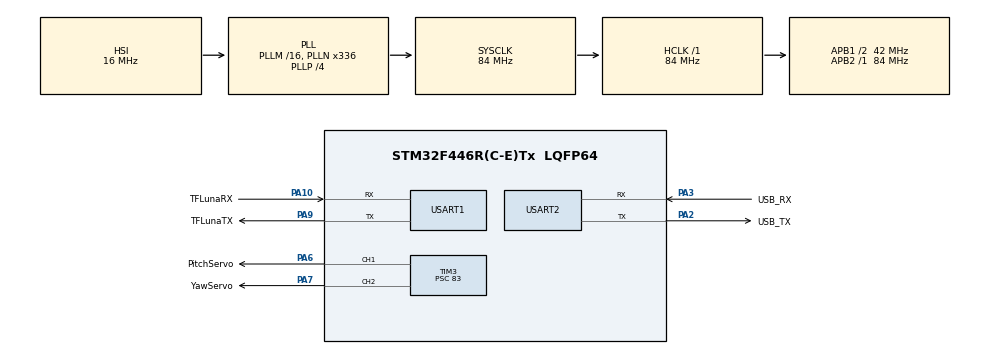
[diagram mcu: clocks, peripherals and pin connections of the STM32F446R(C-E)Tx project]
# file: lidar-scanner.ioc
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Mcu.Family=STM32F4
Mcu.Name=STM32F446R(C-E)Tx
Mcu.Package=LQFP64
NVIC.PriorityGroup=NVIC_PRIORITYGROUP_0
NVIC.USART1_IRQn=true\:0\:0\:false\:false\:true\:true\:true\:true
NVIC.USART2_IRQn=true\:0\:0\:false\:false\:true\:true\:true\:true
PA10.GPIO_Label=TFLunaRX
PA10.Mode=Asynchronous
PA10.Signal=USART1_RX
PA13.GPIO_Label=TMS
PA13.Mode=Serial_Wire
PA13.Signal=SYS_JTMS-SWDIO
PA14.GPIO_Label=TCK
PA14.Mode=Serial_Wire
PA14.Signal=SYS_JTCK-SWCLK
PA2.GPIO_Label=USB_TX
PA2.Mode=Asynchronous
PA2.Signal=USART2_TX
PA3.GPIO_Label=USB_RX
PA3.Mode=Asynchronous
PA3.Signal=USART2_RX
PA6.GPIO_Label=PitchServo
PA6.Signal=S_TIM3_CH1
PA7.GPIO_Label=YawServo
PA7.Signal=S_TIM3_CH2
PA9.GPIO_Label=TFLunaTX
PA9.Mode=Asynchronous
PA9.Signal=USART1_TX
PB3.GPIO_Label=SWO
PB3.Signal=SYS_JTDO-SWO
PC14-OSC32_IN.Mode=LSE-External-Oscillator
PC14-OSC32_IN.Signal=RCC_OSC32_IN
PC15-OSC32_OUT.Mode=LSE-External-Oscillator
PC15-OSC32_OUT.Signal=RCC_OSC32_OUT
PH0-OSC_IN.Mode=HSE-External-Oscillator
PH0-OSC_IN.Signal=RCC_OSC_IN
PH1-OSC_OUT.Mode=HSE-External-Oscillator
PH1-OSC_OUT.Signal=RCC_OSC_OUT
ProjectManager.HeapSize=0x200
ProjectManager.StackSize=0x400
ProjectManager.TargetToolchain=STM32CubeIDE
RCC.48MHZClocksFreq_Value=84000000
RCC.AHBFreq_Value=84000000
RCC.APB1CLKDivider=RCC_HCLK_DIV2
RCC.APB1Freq_Value=42000000
RCC.APB1TimFreq_Value=84000000
RCC.APB2Freq_Value=84000000
RCC.APB2TimFreq_Value=84000000
RCC.CortexFreq_Value=84000000
RCC.FLatency-AdvancedSettings=FLASH_LATENCY_2
RCC.HCLKFreq_Value=84000000
RCC.HSE_VALUE=8000000
RCC.HSI_VALUE=16000000
RCC.PLLN=336
RCC.PLLP=RCC_PLLP_DIV4
RCC.SYSCLKFreq_VALUE=84000000
RCC.SYSCLKSource=RCC_SYSCLKSOURCE_PLLCLK
RCC.USBFreq_Value=168000000
RCC.VCOOutputFreq_Value=336000000
SH.S_TIM3_CH1.0=TIM3_CH1,PWM Generation1 CH1
SH.S_TIM3_CH2.0=TIM3_CH2,PWM Generation2 CH2
TIM3.Channel-PWM\ Generation1\ CH1=TIM_CHANNEL_1
TIM3.Channel-PWM\ Generation2\ CH2=TIM_CHANNEL_2
TIM3.Period=19999
TIM3.Prescaler=83
USART1.VirtualMode=VM_ASYNC
USART2.VirtualMode=VM_ASYNC
VP_TIM3_VS_ClockSourceINT.Mode=Internal
board=NUCLEO-F446RE

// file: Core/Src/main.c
/* USER CODE BEGIN Header */
/**
  ******************************************************************************
  * @file           : main.c
  * @brief          : Main program body
  ******************************************************************************
  * @attention
  *
  * Copyright (c) 2023 STMicroelectronics.
  * All rights reserved.
  *
  * This software is licensed under terms that can be found in the LICENSE file
  * in the root directory of this software component.
  * If no LICENSE file comes with this software, it is provided AS-IS.
  *
  ******************************************************************************
  */
/* USER CODE END Header */
#include "main.h"

/* USER CODE BEGIN Includes */
#include "TFLuna.h"
#include "Servo.h"
/* USER CODE END Includes */

TIM_HandleTypeDef htim3;

UART_HandleTypeDef huart1;
UART_HandleTypeDef huart2;

/* USER CODE BEGIN PV */

// #####  #####   ###   #####  #  #####     #   #   ###   ####   #   ###   ####   #      #####  #####
// #        #    #   #    #    #  #         #   #  #   #  #   #  #  #   #  #   #  #      #      #
// #####    #    #####    #    #  #         #   #  #####  ####   #  #####  ####   #      #####  #####
//     #    #    #   #    #    #  #          # #   #   #  #  #   #  #   #  #   #  #      #          #
// #####    #    #   #    #    #  #####       #    #   #  #   #  #  #   #  ####   #####  #####  #####

static uint8_t scan_in_progress = 0;

static float increment_yaw = 1.0f;
static float increment_pitch = 1.0f;
static uint16_t change_pitch_direction_count = 0;
static long int expected_sample_count = 0;
static long int sample_count = 0;

static uint16_t sensor_frequency = 500/5;

static int counter = 0;

static uint8_t received_byte[1];
#define SEND_DATA_SIZE 14
static uint8_t data14byte[SEND_DATA_SIZE];
static uint8_t read_step_info_flag = 0;

#define LUNA_DATA_SIZE  8
static uint8_t tfluna_data_frame[LUNA_DATA_SIZE];

static int16_t pitch = 0;
static int16_t yaw = 0;

static Servo YawServo;
static Servo PitchServo;
static TFLuna sensor;

/* USER CODE END PV */

void SystemClock_Config(void);
static void MX_GPIO_Init(void);
static void MX_USART2_UART_Init(void);
static void MX_USART1_UART_Init(void);
static void MX_TIM3_Init(void);
/* USER CODE BEGIN PFP */
void serialWriteMeasurement14Byte_IT(UART_HandleTypeDef *huart);
void executeScan(Servo *yawServo, Servo *pitchServo, TFLuna *sensor, GPIO_PinState *stop);
void homePosition(Servo *YawServo, Servo *PitchServo);
void flushBuffer(UART_HandleTypeDef *huart);
void executeScanTopBottom(Servo *YawServo, Servo *PitchServo, TFLuna *sensor);
void finishScanning(Servo *YawServo, Servo *PitchServo, TFLuna *sensor);

/* USER CODE END PFP */

/* USER CODE BEGIN 0 */

// #   #   ###   ####   #####     #  #   #  #####  #####  ####   ####   #   #  ####   #####  #####
// #   #  #   #  #   #    #       #  ##  #    #    #      #   #  #   #  #   #  #   #    #    #
// #   #  #####  ####     #       #  # # #    #    #####  ####   ####   #   #  ####     #    #####
// #   #  #   #  #  #     #       #  #  ##    #    #      #  #   #  #   #   #  #        #        #
//  ###   #   #  #   #    #       #  #   #    #    #####  #   #  #   #   ###   #        #    #####

typedef enum int8_t{
	UNKNOWN = 0x60,
	STOP_ALL = 0x61,
	START_SCANNING = 0x62,
	OK = 0x63,
	FRAME_BEGIN = 0x64,
	FRAME_END = 0x65,
	SCAN_FINISHED = 0x66,
	STEP_INFO = 0x67
} MessageCode;

// Interrupt after finished transmission (using HAL_UART_Transmit_IT())
void HAL_UART_TxCpltCallback(UART_HandleTypeDef *huart)
{
	if(huart == &huart1) // tf luna
	{
	}
	else if(huart == &huart2) // usb
	{
		if(sample_count == expected_sample_count && scan_in_progress == 1)
		{
			finishScanning(&YawServo, &PitchServo, &sensor);
			return;
		}

		if(scan_in_progress == 1)
		{
			HAL_UART_Receive_IT(&huart1, tfluna_data_frame, LUNA_DATA_SIZE);
			return;
		}

		HAL_UART_Receive_IT(&huart2, received_byte, 1);

	}
}

// Interrupt after receiving data (using HAL_UART_Recieve_IT())
void HAL_UART_RxCpltCallback(UART_HandleTypeDef *huart)
{
	if(huart == &huart1) // tf luna
	{
		if(counter++ % 2 == 0)
		{
			sample_count++;

			serialWriteMeasurement14Byte_IT(&huart2);

			if(sample_count > 1)
			{
				if(sample_count % change_pitch_direction_count == 0)
				{
					servoMoveBy(&YawServo, increment_yaw);
				}
				if(sample_count % change_pitch_direction_count == 1)
				{
					increment_pitch = -increment_pitch;
				}
			}
			servoMoveBy(&PitchServo, increment_pitch);
		}
		else
			HAL_UART_Receive_IT(&huart1, tfluna_data_frame, LUNA_DATA_SIZE);
	}
	else if(huart == &huart2) // usb
	{
		if(read_step_info_flag == 1)
		{
			read_step_info_flag = 0;
			increment_yaw = (float)(*received_byte) / 10.0;
			increment_pitch = (float)(*received_byte) / 10.0;
			HAL_UART_Receive_IT(&huart2, received_byte, 1);
			return;
		}

		switch(*received_byte)
		{
		case STOP_ALL:
			homePosition(&YawServo, &PitchServo);
			HAL_UART_Receive_IT(&huart2, received_byte, 1);
			break;
		case START_SCANNING:
			executeScanTopBottom(&YawServo, &PitchServo, &sensor);
			break;
		case STEP_INFO:
			read_step_info_flag = 1;
			HAL_UART_Receive_IT(&huart2, received_byte, 1);
			break;
		default:
			HAL_UART_Receive_IT(&huart2, received_byte, 1);
		}
		*received_byte = UNKNOWN;

	}
}

// #####  #   #  #   #  #####  #####  #  #####  #   #  #####
// #      #   #  ##  #  #        #    #  #   #  ##  #  #
// #####  #   #  # # #  #        #    #  #   #  # # #  #####
// #      #   #  #  ##  #        #    #  #   #  #  ##      #
// #       ###   #   #  #####    #    #  #####  #   #  #####

void executeScanTopBottom(Servo *YawServo, Servo *PitchServo, TFLuna *sensor)
{
	scan_in_progress = 1;

	if(increment_pitch < 0.0)
		increment_pitch = -increment_pitch;

	counter = 0;
	sample_count = 0;

	float pitch_range = PitchServo->max_angle_allowed_by_user - PitchServo->min_angle_allowed_by_user;
	float yaw_range = YawServo->max_angle_allowed_by_user - YawServo->min_angle_allowed_by_user;

	change_pitch_direction_count = (pitch_range / increment_pitch) + 1;
	expected_sample_count = (((pitch_range / increment_pitch) + 1) * ((yaw_range / increment_yaw) + 1));

	homePosition(YawServo, PitchServo);

	TFLunaEnableOutput(sensor, 1);

	HAL_UART_Receive_IT(sensor->uart_handler, tfluna_data_frame, LUNA_DATA_SIZE);
}

void serialWriteMeasurement14Byte_IT(UART_HandleTypeDef *huart)
{
	pitch = (int16_t)(10.0f * PitchServo.position);
	yaw = (int16_t)(10.0f * YawServo.position);

	data14byte[0] = (int8_t)FRAME_BEGIN;
	data14byte[1] = tfluna_data_frame[0];
	data14byte[2] = tfluna_data_frame[1];
	data14byte[3] = (uint8_t)pitch;
	data14byte[4] = (uint8_t)(pitch >> 8);
	data14byte[5] = (uint8_t)yaw;
	data14byte[6] = (uint8_t)(yaw >> 8);
	data14byte[7] = tfluna_data_frame[2];
	data14byte[8] = tfluna_data_frame[3];
	data14byte[9] = tfluna_data_frame[4];
	data14byte[10] = tfluna_data_frame[5];
	data14byte[11] = tfluna_data_frame[6];
	data14byte[12] = tfluna_data_frame[7];
	data14byte[13] = (int8_t)FRAME_END;

	HAL_UART_Transmit_IT(huart, (uint8_t*)data14byte, SEND_DATA_SIZE);
}

void finishScanning(Servo *YawServo, Servo *PitchServo, TFLuna *sensor)
{
	TFLunaEnableOutput(sensor, 0);
	homePosition(YawServo, PitchServo);
	scan_in_progress = 0;
	sample_count = 0;

	data14byte[0] = (uint8_t)SCAN_FINISHED;
	data14byte[1] = (uint8_t)SCAN_FINISHED;
	data14byte[2] = (uint8_t)SCAN_FINISHED;
	data14byte[3] = (uint8_t)SCAN_FINISHED;
	data14byte[4] = (uint8_t)SCAN_FINISHED;
	data14byte[5] = (uint8_t)SCAN_FINISHED;
	data14byte[6] = (uint8_t)SCAN_FINISHED;
	data14byte[7] = (uint8_t)SCAN_FINISHED;
	data14byte[8] = (uint8_t)SCAN_FINISHED;
	data14byte[9] = (uint8_t)SCAN_FINISHED;
	data14byte[10] = (uint8_t)SCAN_FINISHED;
	data14byte[11] = (uint8_t)SCAN_FINISHED;
	data14byte[12] = (uint8_t)SCAN_FINISHED;
	data14byte[13] = (uint8_t)SCAN_FINISHED;

	HAL_UART_Transmit_IT(&huart2, (uint8_t*)data14byte, SEND_DATA_SIZE);
}

void homePosition(Servo *YawServo, Servo *PitchServo)
{
	float homeYaw = YawServo->min_angle_allowed_by_user, homePitch = PitchServo->min_angle_allowed_by_user;

	servoMoveTo(PitchServo, homePitch);
	servoMoveTo(YawServo, homeYaw);
}

void flushBuffer(UART_HandleTypeDef *huart)
{
	HAL_UART_Receive(sensor.uart_handler, tfluna_data_frame, 200, 10);
}

/* USER CODE END 0 */

int main(void)
{

  /* MCU Configuration--------------------------------------------------------*/

  /* Reset of all peripherals, Initializes the Flash interface and the Systick. */
  HAL_Init();

  /* Configure the system clock */
  SystemClock_Config();

  /* Initialize all configured peripherals */
  MX_GPIO_Init();
  MX_USART2_UART_Init();
  MX_USART1_UART_Init();
  MX_TIM3_Init();
  /* USER CODE BEGIN 2 */

  // #  #   #  #  #####  #   ###   #      #  #####   ###   #####  #  #####  #   #
  // #  ##  #  #    #    #  #   #  #      #  #      #   #    #    #  #   #  ##  #
  // #  # # #  #    #    #  #####  #      #  #####  #####    #    #  #   #  # # #
  // #  #  ##  #    #    #  #   #  #      #      #  #   #    #    #  #   #  #  ##
  // #  #   #  #    #    #  #   #  #####  #  #####  #   #    #    #  #####  #   #

  HAL_TIM_PWM_Start(&htim3, TIM_CHANNEL_1);
  HAL_TIM_PWM_Start(&htim3, TIM_CHANNEL_2);

  init(&YawServo, &htim3, TIM_CHANNEL_2);
  YawServo.min_pulse_width_microseconds = 600 /* + offset */;
  YawServo.max_pulse_width_microseconds = 2570 /* + offset */;
  YawServo.min_angle_possible = -90.0;
  YawServo.max_angle_possible = 90.0;
  YawServo.min_angle_allowed_by_user = -90.0;
  YawServo.max_angle_allowed_by_user = 90.0;

  init(&PitchServo, &htim3, TIM_CHANNEL_1);
  PitchServo.min_pulse_width_microseconds = 500 + 10/* + offset */;
  PitchServo.max_pulse_width_microseconds = 2600 + 10 /* + offset */;
  PitchServo.min_angle_possible = -30.0;
  PitchServo.max_angle_possible = 150.0;
  PitchServo.min_angle_allowed_by_user = -30.0;
  PitchServo.max_angle_allowed_by_user = 90.0;

  sensor.uart_handler = &huart1;
  TFLunaEnableOutput(&sensor, 0);
  TFLunaSetOutputFormat(&sensor, CM_8BYTE);
  TFLunaSetFrequency(&sensor, sensor_frequency);

  flushBuffer(sensor.uart_handler);

  /* USER CODE END 2 */

  /* Infinite loop */
  /* USER CODE BEGIN WHILE */

  // #   #   ###   #  #   #     #   #  #   #  #  #      #####     #      #####  #####  ####
  // ## ##  #   #  #  ##  #     #   #  #   #  #  #      #         #      #   #  #   #  #   #
  // # # #  #####  #  # # #     # # #  #####  #  #      #####     #      #   #  #   #  ####
  // #   #  #   #  #  #  ##     # # #  #   #  #  #      #         #      #   #  #   #  #
  // #   #  #   #  #  #   #      # #   #   #  #  #####  #####     #####  #####  #####  #

  HAL_UART_Receive_IT(&huart2, received_byte, 1);

  while (1)
  {
	  if(scan_in_progress == 0)
		  homePosition(&YawServo, &PitchServo);

    /* USER CODE END WHILE */

    /* USER CODE BEGIN 3 */

  } // while(1)

  /* USER CODE END 3 */
}

void SystemClock_Config(void)
{
  RCC_OscInitTypeDef RCC_OscInitStruct = {0};
  RCC_ClkInitTypeDef RCC_ClkInitStruct = {0};

  /** Configure the main internal regulator output voltage
  */
  __HAL_RCC_PWR_CLK_ENABLE();
  __HAL_PWR_VOLTAGESCALING_CONFIG(PWR_REGULATOR_VOLTAGE_SCALE3);

  /** Initializes the RCC Oscillators according to the specified parameters
  * in the RCC_OscInitTypeDef structure.
  */
  RCC_OscInitStruct.OscillatorType = RCC_OSCILLATORTYPE_HSI;
  RCC_OscInitStruct.HSIState = RCC_HSI_ON;
  RCC_OscInitStruct.HSICalibrationValue = RCC_HSICALIBRATION_DEFAULT;
  RCC_OscInitStruct.PLL.PLLState = RCC_PLL_ON;
  RCC_OscInitStruct.PLL.PLLSource = RCC_PLLSOURCE_HSI;
  RCC_OscInitStruct.PLL.PLLM = 16;
  RCC_OscInitStruct.PLL.PLLN = 336;
  RCC_OscInitStruct.PLL.PLLP = RCC_PLLP_DIV4;
  RCC_OscInitStruct.PLL.PLLQ = 2;
  RCC_OscInitStruct.PLL.PLLR = 2;
  if (HAL_RCC_OscConfig(&RCC_OscInitStruct) != HAL_OK)
  {
    Error_Handler();
  }

  /** Initializes the CPU, AHB and APB buses clocks
  */
  RCC_ClkInitStruct.ClockType = RCC_CLOCKTYPE_HCLK|RCC_CLOCKTYPE_SYSCLK
                              |RCC_CLOCKTYPE_PCLK1|RCC_CLOCKTYPE_PCLK2;
  RCC_ClkInitStruct.SYSCLKSource = RCC_SYSCLKSOURCE_PLLCLK;
  RCC_ClkInitStruct.AHBCLKDivider = RCC_SYSCLK_DIV1;
  RCC_ClkInitStruct.APB1CLKDivider = RCC_HCLK_DIV2;
  RCC_ClkInitStruct.APB2CLKDivider = RCC_HCLK_DIV1;

  if (HAL_RCC_ClockConfig(&RCC_ClkInitStruct, FLASH_LATENCY_2) != HAL_OK)
  {
    Error_Handler();
  }
}

static void MX_TIM3_Init(void)
{

  TIM_ClockConfigTypeDef sClockSourceConfig = {0};
  TIM_MasterConfigTypeDef sMasterConfig = {0};
  TIM_OC_InitTypeDef sConfigOC = {0};

  htim3.Instance = TIM3;
  htim3.Init.Prescaler = 83;
  htim3.Init.CounterMode = TIM_COUNTERMODE_UP;
  htim3.Init.Period = 19999;
  htim3.Init.ClockDivision = TIM_CLOCKDIVISION_DIV1;
  htim3.Init.AutoReloadPreload = TIM_AUTORELOAD_PRELOAD_DISABLE;
  if (HAL_TIM_Base_Init(&htim3) != HAL_OK)
  {
    Error_Handler();
  }
  sClockSourceConfig.ClockSource = TIM_CLOCKSOURCE_INTERNAL;
  if (HAL_TIM_ConfigClockSource(&htim3, &sClockSourceConfig) != HAL_OK)
  {
    Error_Handler();
  }
  if (HAL_TIM_PWM_Init(&htim3) != HAL_OK)
  {
    Error_Handler();
  }
  sMasterConfig.MasterOutputTrigger = TIM_TRGO_RESET;
  sMasterConfig.MasterSlaveMode = TIM_MASTERSLAVEMODE_DISABLE;
  if (HAL_TIMEx_MasterConfigSynchronization(&htim3, &sMasterConfig) != HAL_OK)
  {
    Error_Handler();
  }
  sConfigOC.OCMode = TIM_OCMODE_PWM1;
  sConfigOC.Pulse = 0;
  sConfigOC.OCPolarity = TIM_OCPOLARITY_HIGH;
  sConfigOC.OCFastMode = TIM_OCFAST_DISABLE;
  if (HAL_TIM_PWM_ConfigChannel(&htim3, &sConfigOC, TIM_CHANNEL_1) != HAL_OK)
  {
    Error_Handler();
  }
  if (HAL_TIM_PWM_ConfigChannel(&htim3, &sConfigOC, TIM_CHANNEL_2) != HAL_OK)
  {
    Error_Handler();
  }
  HAL_TIM_MspPostInit(&htim3);

}

static void MX_USART1_UART_Init(void)
{

  huart1.Instance = USART1;
  huart1.Init.BaudRate = 115200;
  huart1.Init.WordLength = UART_WORDLENGTH_8B;
  huart1.Init.StopBits = UART_STOPBITS_1;
  huart1.Init.Parity = UART_PARITY_NONE;
  huart1.Init.Mode = UART_MODE_TX_RX;
  huart1.Init.HwFlowCtl = UART_HWCONTROL_NONE;
  huart1.Init.OverSampling = UART_OVERSAMPLING_16;
  if (HAL_UART_Init(&huart1) != HAL_OK)
  {
    Error_Handler();
  }

}

static void MX_USART2_UART_Init(void)
{

  huart2.Instance = USART2;
  huart2.Init.BaudRate = 115200;
  huart2.Init.WordLength = UART_WORDLENGTH_8B;
  huart2.Init.StopBits = UART_STOPBITS_1;
  huart2.Init.Parity = UART_PARITY_NONE;
  huart2.Init.Mode = UART_MODE_TX_RX;
  huart2.Init.HwFlowCtl = UART_HWCONTROL_NONE;
  huart2.Init.OverSampling = UART_OVERSAMPLING_16;
  if (HAL_UART_Init(&huart2) != HAL_OK)
  {
    Error_Handler();
  }

}

static void MX_GPIO_Init(void)
{

  /* GPIO Ports Clock Enable */
  __HAL_RCC_GPIOC_CLK_ENABLE();
  __HAL_RCC_GPIOH_CLK_ENABLE();
  __HAL_RCC_GPIOA_CLK_ENABLE();
  __HAL_RCC_GPIOB_CLK_ENABLE();

}

void Error_Handler(void)
{
  __disable_irq();
  while (1)
  {
  }
}
